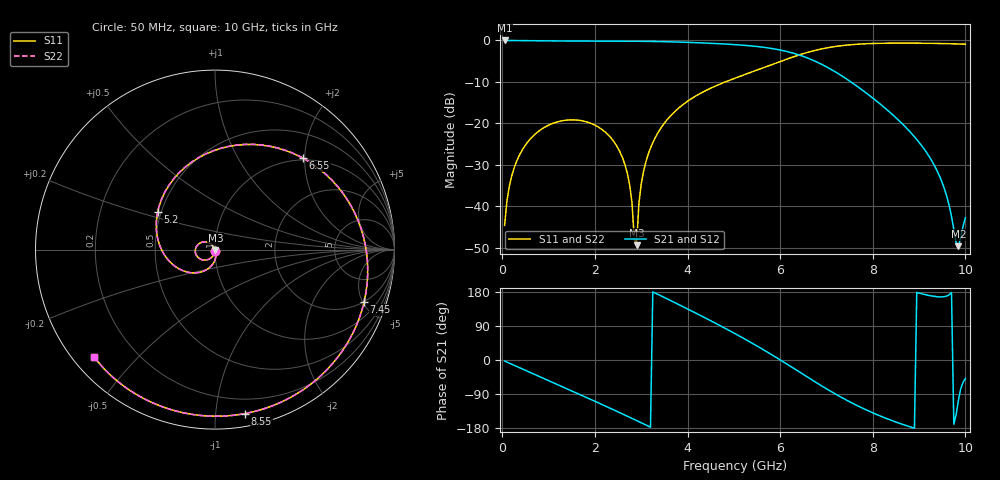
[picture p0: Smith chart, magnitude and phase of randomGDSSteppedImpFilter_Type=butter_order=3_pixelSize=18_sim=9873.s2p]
! freq	dB(S11)	phase(S11)	dB(S12)	phase(S12)
!  dB(S21)	phase(S21)	dB(S22)	phase(S22)
!S-par simulation data
#  GHz  S  DB  R 50
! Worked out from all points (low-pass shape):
!   200 points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, 50 MHz to 10 GHz, reference 50 ohm
!   highest |S21| = -0.01 dB at 50 MHz (marker M1); lowest = -49.6 dB at 9.85 GHz (marker M2)
!   |S21| within 3 dB of the highest: start of sweep to 6.261 GHz
!   lowest |S11| = -49.3 dB at 2.9 GHz (marker M3), VSWR 1.01, Z = 50.2 - j0.297 ohm
!   |S11| at or under -10 dB: start of sweep to 4.815 GHz
!   |S22| runs from -49.4 to -0.6 dB; largest |S21 - S12| = 0
!   S11 on the Smith chart (normalised r, x): 50 MHz: 1.00, -0.01; 5.2 GHz: 0.48, +0.23; 6.55 GHz: 0.96, +1.96; 7.45 GHz: 2.00, -5.14; 8.55 GHz: 0.09, -1.20; 10 GHz: 0.06, -0.38
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0.05  -44.55 -89.7  -0.01 -2.8  -0.01 -2.8  -44.55 -89.7
0.2  -32.79 -100.3  -0.02 -11.0  -0.02 -11.0  -32.79 -100.3
0.55  -24.46 -120.4  -0.06 -30.0  -0.06 -30.0  -24.46 -120.4
1.75  -19.43 173.7  -0.16 -95.2  -0.16 -95.2  -19.43 173.9
2.55  -27.08 128.6  -0.18 -139.7  -0.18 -139.7  -27.08 129.1
2.75  -34.79 115.9  -0.19 -151.1  -0.19 -151.1  -34.79 117.3
2.9  -49.27 -59.3  -0.20 -159.8  -0.20 -159.8  -49.42 -66.5
2.95  -39.24 -70.0  -0.20 -162.7  -0.20 -162.7  -39.25 -72.2
3.05  -31.57 -77.9  -0.21 -168.5  -0.21 -168.5  -31.58 -78.8
3.4  -21.54 -99.4  -0.28 170.9  -0.28 170.9  -21.54 -99.6
4.3  -12.62 -154.5  -0.59 116.2  -0.59 116.2  -12.62 -154.3
5.05  -8.99 157.0  -1.03 68.0  -1.03 68.0  -8.99 157.2
5.2  -8.37 146.8  -1.15 57.9  -1.15 57.9  -8.36 147.1
5.9  -5.48 96.3  -2.09 7.9  -2.09 7.9  -5.48 96.7
6.55  -3.02 46.1  -4.06 -42.0  -4.06 -42.0  -3.02 46.5
6.7  -2.56 34.5  -4.73 -53.5  -4.73 -53.5  -2.56 34.9
7.45  -1.11 -19.3  -9.41 -107.0  -9.41 -107.0  -1.11 -18.9
8.35  -0.66 -70.1  -17.12 -157.0  -17.12 -157.0  -0.66 -69.8
8.55  -0.64 -79.6  -19.14 -166.0  -19.14 -166.0  -0.64 -79.4
9.4  -0.73 -115.5  -31.67 166.8  -31.67 166.8  -0.72 -115.3
9.85  -0.85 -132.8  -49.57 -106.1  -49.57 -106.1  -0.84 -132.5
10  -0.91 -138.5  -42.69 -48.9  -42.69 -48.9  -0.91 -138.2
